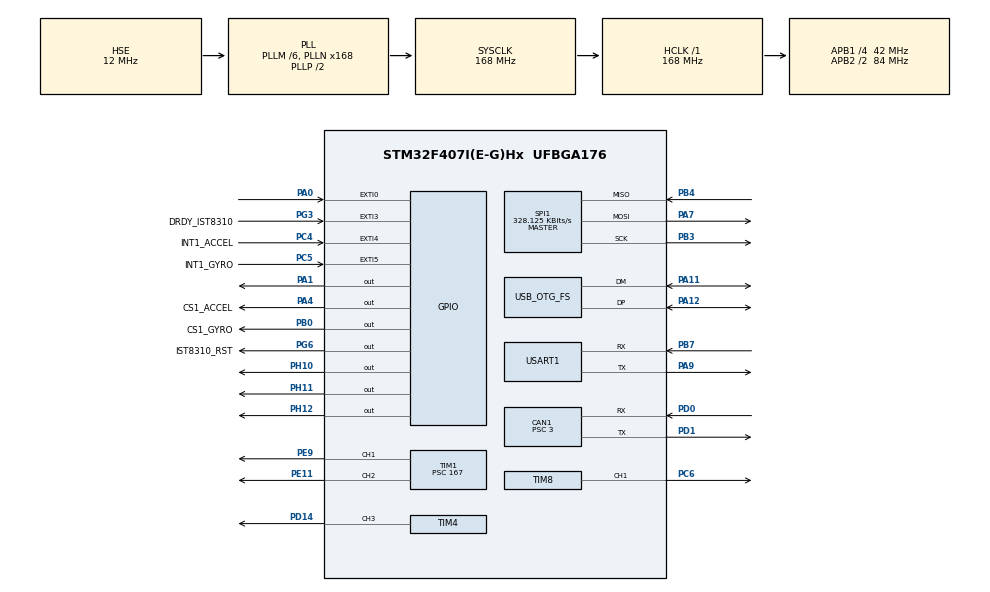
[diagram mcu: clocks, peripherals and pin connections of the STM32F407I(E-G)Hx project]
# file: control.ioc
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CAN1.ABOM=ENABLE
CAN1.AWUM=ENABLE
CAN1.BS1=CAN_BS1_5TQ
CAN1.BS2=CAN_BS2_8TQ
CAN1.CalculateBaudRate=1000000
CAN1.CalculateTimeBit=1000
CAN1.CalculateTimeQuantum=71.42857142857143
CAN1.Prescaler=3
Dma.Request0=SPI1_RX
Dma.Request1=SPI1_TX
Dma.SPI1_RX.0.Direction=DMA_PERIPH_TO_MEMORY
Dma.SPI1_RX.0.FIFOMode=DMA_FIFOMODE_DISABLE
Dma.SPI1_RX.0.Instance=DMA2_Stream2
Dma.SPI1_RX.0.MemDataAlignment=DMA_MDATAALIGN_BYTE
Dma.SPI1_RX.0.MemInc=DMA_MINC_ENABLE
Dma.SPI1_RX.0.Mode=DMA_NORMAL
Dma.SPI1_RX.0.PeriphDataAlignment=DMA_PDATAALIGN_BYTE
Dma.SPI1_RX.0.PeriphInc=DMA_PINC_DISABLE
Dma.SPI1_RX.0.Priority=DMA_PRIORITY_VERY_HIGH
Dma.SPI1_TX.1.Direction=DMA_MEMORY_TO_PERIPH
Dma.SPI1_TX.1.FIFOMode=DMA_FIFOMODE_DISABLE
Dma.SPI1_TX.1.Instance=DMA2_Stream3
Dma.SPI1_TX.1.MemDataAlignment=DMA_MDATAALIGN_BYTE
Dma.SPI1_TX.1.MemInc=DMA_MINC_ENABLE
Dma.SPI1_TX.1.Mode=DMA_NORMAL
Dma.SPI1_TX.1.PeriphDataAlignment=DMA_PDATAALIGN_BYTE
Dma.SPI1_TX.1.PeriphInc=DMA_PINC_DISABLE
Dma.SPI1_TX.1.Priority=DMA_PRIORITY_HIGH
FREERTOS.INCLUDE_eTaskGetState=1
FREERTOS.INCLUDE_pcTaskGetTaskName=1
FREERTOS.INCLUDE_uxTaskGetStackHighWaterMark=1
FREERTOS.INCLUDE_vTaskCleanUpResources=1
FREERTOS.INCLUDE_vTaskDelayUntil=1
FREERTOS.INCLUDE_xQueueGetMutexHolder=1
FREERTOS.INCLUDE_xSemaphoreGetMutexHolder=1
FREERTOS.INCLUDE_xTaskAbortDelay=1
FREERTOS.INCLUDE_xTaskGetCurrentTaskHandle=1
FREERTOS.INCLUDE_xTaskGetHandle=1
FREERTOS.INCLUDE_xTimerPendFunctionCall=1
FREERTOS.Tasks01=defaultTask,0,128,StartDefaultTask,Default,NULL,Dynamic,NULL,NULL
FREERTOS.configTOTAL_HEAP_SIZE=24576
FREERTOS.configUSE_TIMERS=1
Mcu.Family=STM32F4
Mcu.Name=STM32F407I(E-G)Hx
Mcu.Package=UFBGA176
NVIC.CAN1_RX0_IRQn=true\:5\:0\:true\:false\:true\:true\:true\:true\:true
NVIC.CAN1_TX_IRQn=true\:5\:0\:true\:false\:true\:true\:true\:true\:true
NVIC.DMA2_Stream2_IRQn=true\:5\:0\:false\:false\:false\:true\:false\:true\:true
NVIC.DMA2_Stream3_IRQn=true\:5\:0\:false\:false\:true\:true\:false\:true\:true
NVIC.EXTI0_IRQn=true\:5\:0\:true\:false\:true\:true\:true\:true\:true
NVIC.EXTI3_IRQn=true\:5\:0\:true\:false\:true\:true\:true\:true\:true
NVIC.EXTI4_IRQn=true\:5\:0\:true\:false\:true\:true\:true\:true\:true
NVIC.EXTI9_5_IRQn=true\:5\:0\:true\:false\:true\:true\:true\:true\:true
NVIC.OTG_FS_IRQn=true\:5\:0\:false\:false\:true\:true\:true\:true\:true
NVIC.PriorityGroup=NVIC_PRIORITYGROUP_4
NVIC.TIM4_IRQn=true\:5\:0\:false\:false\:true\:true\:true\:true\:true
NVIC.USART1_IRQn=true\:5\:0\:false\:false\:true\:true\:true\:true\:true
PA0-WKUP.GPIO_ModeDefaultEXTI=GPIO_MODE_IT_FALLING
PA0-WKUP.GPIO_PuPd=GPIO_PULLUP
PA0-WKUP.Signal=GPXTI0
PA1.Signal=GPIO_Output
PA11.Mode=Device_Only
PA11.Signal=USB_OTG_FS_DM
PA12.Mode=Device_Only
PA12.Signal=USB_OTG_FS_DP
PA13.Mode=Serial_Wire
PA13.Signal=SYS_JTMS-SWDIO
PA14.Mode=Serial_Wire
PA14.Signal=SYS_JTCK-SWCLK
PA4.GPIO_Label=CS1_ACCEL
PA4.GPIO_PuPd=GPIO_PULLUP
PA4.GPIO_Speed=GPIO_SPEED_FREQ_HIGH
PA4.PinState=GPIO_PIN_SET
PA4.Signal=GPIO_Output
PA7.GPIO_PuPd=GPIO_PULLUP
PA7.Mode=Full_Duplex_Master
PA7.Signal=SPI1_MOSI
PA8.GPIO_Pu=GPIO_PULLUP
PA8.Signal=I2C3_SCL
PA9.GPIO_PuPd=GPIO_NOPULL
PA9.GPIO_Speed=GPIO_SPEED_FREQ_VERY_HIGH
PA9.Mode=Asynchronous
PA9.Signal=USART1_TX
PB0.GPIO_Label=CS1_GYRO
PB0.GPIO_ModeDefaultOutputPP=GPIO_MODE_OUTPUT_PP
PB0.GPIO_PuPd=GPIO_PULLUP
PB0.GPIO_Speed=GPIO_SPEED_FREQ_HIGH
PB0.PinState=GPIO_PIN_SET
PB0.Signal=GPIO_Output
PB3.GPIO_PuPd=GPIO_PULLUP
PB3.Mode=Full_Duplex_Master
PB3.Signal=SPI1_SCK
PB4.GPIO_PuPd=GPIO_PULLUP
PB4.Mode=Full_Duplex_Master
PB4.Signal=SPI1_MISO
PB5.Signal=CAN2_RX
PB6.Signal=CAN2_TX
PB7.GPIO_PuPd=GPIO_NOPULL
PB7.GPIO_Speed=GPIO_SPEED_FREQ_VERY_HIGH
PB7.Mode=Asynchronous
PB7.Signal=USART1_RX
PC4.GPIO_Label=INT1_ACCEL
PC4.GPIO_PuPd=GPIO_PULLUP
PC4.Signal=GPXTI4
PC5.GPIO_Label=INT1_GYRO
PC5.GPIO_PuPd=GPIO_PULLUP
PC5.Signal=GPXTI5
PC6.Signal=S_TIM8_CH1
PD0.Mode=CAN_Activate
PD0.Signal=CAN1_RX
PD1.Mode=CAN_Activate
PD1.Signal=CAN1_TX
PD14.Signal=S_TIM4_CH3
PE11.Signal=S_TIM1_CH2
PE9.GPIO_PuPd=GPIO_PULLUP
PE9.GPIO_Speed=GPIO_SPEED_FREQ_HIGH
PE9.Signal=S_TIM1_CH1
PF6.GPIO_Label=IMU_PWM
PF6.GPIO_PuPd=GPIO_PULLUP
PF6.GPIO_Speed=GPIO_SPEED_FREQ_HIGH
PF6.Signal=S_TIM10_CH1
PG3.GPIO_Label=DRDY_IST8310
PG3.GPIO_PuPd=GPIO_PULLUP
PG3.Signal=GPXTI3
PG6.GPIO_Label=IST8310_RST
PG6.GPIO_PuPd=GPIO_PULLUP
PG6.GPIO_Speed=GPIO_SPEED_FREQ_MEDIUM
PG6.PinState=GPIO_PIN_SET
PG6.Signal=GPIO_Output
PH0-OSC_IN.Mode=HSE-External-Oscillator
PH0-OSC_IN.Signal=RCC_OSC_IN
PH1-OSC_OUT.Mode=HSE-External-Oscillator
PH1-OSC_OUT.Signal=RCC_OSC_OUT
PH10.GPIO_PuPd=GPIO_PULLUP
PH10.PinState=GPIO_PIN_SET
PH10.Signal=GPIO_Output
PH11.GPIO_PuPd=GPIO_PULLUP
PH11.PinState=GPIO_PIN_SET
PH11.Signal=GPIO_Output
PH12.GPIO_PuPd=GPIO_PULLUP
PH12.PinState=GPIO_PIN_SET
PH12.Signal=GPIO_Output
ProjectManager.HeapSize=0x2000
ProjectManager.StackSize=0x2000
ProjectManager.TargetToolchain=MDK-ARM V5.27
RCC.48MHZClocksFreq_Value=48000000
RCC.AHBFreq_Value=168000000
RCC.APB1CLKDivider=RCC_HCLK_DIV4
RCC.APB1Freq_Value=42000000
RCC.APB1TimFreq_Value=84000000
RCC.APB2CLKDivider=RCC_HCLK_DIV2
RCC.APB2Freq_Value=84000000
RCC.APB2TimFreq_Value=168000000
RCC.CortexFreq_Value=168000000
RCC.HCLKFreq_Value=168000000
RCC.HSE_VALUE=12000000
RCC.HSI_VALUE=16000000
RCC.LSE_VALUE=32768
RCC.PLLM=6
RCC.PLLN=168
RCC.PLLQ=7
RCC.SYSCLKFreq_VALUE=168000000
RCC.SYSCLKSource=RCC_SYSCLKSOURCE_PLLCLK
RCC.VCOOutputFreq_Value=336000000
SH.S_TIM10_CH1.0=TIM10_CH1
SH.S_TIM1_CH1.0=TIM1_CH1,PWM Generation1 CH1
SH.S_TIM1_CH2.0=TIM1_CH2,PWM Generation2 CH2
SH.S_TIM4_CH3.0=TIM4_CH3,PWM Generation3 CH3
SH.S_TIM8_CH1.0=TIM8_CH1,PWM Generation1 CH1
SPI1.BaudRatePrescaler=SPI_BAUDRATEPRESCALER_256
SPI1.CLKPhase=SPI_PHASE_2EDGE
SPI1.CLKPolarity=SPI_POLARITY_HIGH
SPI1.CalculateBaudRate=328.125 KBits/s
SPI1.Direction=SPI_DIRECTION_2LINES
SPI1.Mode=SPI_MODE_MASTER
SPI1.VirtualType=VM_MASTER
STMicroelectronics.X-CUBE-ALGOBUILD.1.3.0.LibraryCcDSPOoLibraryJjDSPOoLibrary=true
TIM1.Channel-PWM\ Generation1\ CH1=TIM_CHANNEL_1
TIM1.Channel-PWM\ Generation2\ CH2=TIM_CHANNEL_2
TIM1.Period=19999
TIM1.Prescaler=167
TIM1.Pulse-PWM\ Generation1\ CH1=2000
TIM10.Period=4999
TIM10.Prescaler=83
TIM4.Channel-PWM\ Generation3\ CH3=TIM_CHANNEL_3
TIM4.Period=20999
TIM4.Prescaler=0
TIM6.Period=1000-1
TIM6.Prescaler=840-1
TIM8.Channel-PWM\ Generation1\ CH1=TIM_CHANNEL_1
TIM8.Period=4999
TIM8.Prescaler=167
USART1.VirtualMode=VM_ASYNC
USB_DEVICE.CLASS_NAME_FS=CDC
USB_DEVICE.VirtualMode-CDC_FS=Cdc
USB_DEVICE.VirtualModeFS=Cdc_FS
USB_OTG_FS.VirtualMode=Device_Only
VP_FREERTOS_VS_CMSIS_V1.Mode=CMSIS_V1
VP_STMicroelectronics.X-CUBE-ALGOBUILD_VS_DSPOoLibraryJjLibrary_1.3.0_1.3.0.Mode=DSPOoLibraryJjLibrary
VP_TIM10_VS_ClockSourceINT.Mode=Enable_Timer
VP_TIM1_VS_ClockSourceINT.Mode=Internal
VP_TIM4_VS_ClockSourceINT.Mode=Internal
VP_TIM6_VS_ClockSourceINT.Mode=Enable_Timer
VP_TIM8_VS_ClockSourceINT.Mode=Internal
VP_USB_DEVICE_VS_USB_DEVICE_CDC_FS.Mode=CDC_FS
board=custom

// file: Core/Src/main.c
/* USER CODE BEGIN Header */
/**
  ******************************************************************************
  * @file           : main.c
  * @brief          : Main program body
  ******************************************************************************
  * @attention
  *
  * Copyright (c) 2024 STMicroelectronics.
  * All rights reserved.
  *
  * This software is licensed under terms that can be found in the LICENSE file
  * in the root directory of this software component.
  * If no LICENSE file comes with this software, it is provided AS-IS.
  *
  ******************************************************************************
  */
/* USER CODE END Header */
#include "main.h"
#include "cmsis_os.h"
#include "can.h"
#include "dma.h"
#include "spi.h"
#include "tim.h"
#include "usart.h"
#include "usb_device.h"
#include "gpio.h"

/* USER CODE BEGIN Includes */
#include "BMI088driver.h"
#include "bsp_dwt.h"
#include "bsp_can.h"
#include "Motor_bsp.h"
#include "xbox_rx_task.h"
#include "Clamp_task.h"
#include "buzzer.h"
/* USER CODE END Includes */

void SystemClock_Config(void);
void MX_FREERTOS_Init(void);

int main(void)
{

  /* MCU Configuration--------------------------------------------------------*/

  /* Reset of all peripherals, Initializes the Flash interface and the Systick. */
  HAL_Init();

  /* Configure the system clock */
  SystemClock_Config();

  /* Initialize all configured peripherals */
  MX_GPIO_Init();
  MX_DMA_Init();
  MX_CAN1_Init();
  MX_TIM6_Init();
  MX_SPI1_Init();
  MX_TIM10_Init();
  MX_TIM4_Init();
  MX_TIM8_Init();
  MX_TIM1_Init();
  MX_USART1_UART_Init();
  /* USER CODE BEGIN 2 */
  HAL_GPIO_WritePin(GPIOH,GPIO_PIN_10,GPIO_PIN_RESET);
  HAL_GPIO_WritePin(GPIOH,GPIO_PIN_11,GPIO_PIN_RESET);
  HAL_GPIO_WritePin(GPIOH,GPIO_PIN_12,GPIO_PIN_RESET);
  HAL_TIM_Base_Start(&htim1);
  HAL_TIM_PWM_Start(&htim1, TIM_CHANNEL_1);
  HAL_TIM_PWM_Start(&htim1, TIM_CHANNEL_2);
  Clamp_Init();
  bsp_can_init();
  DWT_Init(168);
  while (BMI088_init(&hspi1, 1) != BMI088_NO_ERROR)
  ;
  HAL_UART_Receive_IT(&huart1,rx_data,sizeof(rx_data));
  buzzer_init_example();
  buzzer_setTask(&buzzer, BUZZER_DJI_STARTUP_PRIORITY);

  /* USER CODE END 2 */
  /* USER CODE END 2 */
  /* USER CODE END 2 */

  /* Call init function for freertos objects (in freertos.c) */
  MX_FREERTOS_Init();

  /* Start scheduler */
  osKernelStart();

  /* We should never get here as control is now taken by the scheduler */
  /* Infinite loop */
  while (1)
  {

  }
}

void SystemClock_Config(void)
{
  RCC_OscInitTypeDef RCC_OscInitStruct = {0};
  RCC_ClkInitTypeDef RCC_ClkInitStruct = {0};

  /** Configure the main internal regulator output voltage
  */
  __HAL_RCC_PWR_CLK_ENABLE();
  __HAL_PWR_VOLTAGESCALING_CONFIG(PWR_REGULATOR_VOLTAGE_SCALE1);

  /** Initializes the RCC Oscillators according to the specified parameters
  * in the RCC_OscInitTypeDef structure.
  */
  RCC_OscInitStruct.OscillatorType = RCC_OSCILLATORTYPE_HSE;
  RCC_OscInitStruct.HSEState = RCC_HSE_ON;
  RCC_OscInitStruct.PLL.PLLState = RCC_PLL_ON;
  RCC_OscInitStruct.PLL.PLLSource = RCC_PLLSOURCE_HSE;
  RCC_OscInitStruct.PLL.PLLM = 6;
  RCC_OscInitStruct.PLL.PLLN = 168;
  RCC_OscInitStruct.PLL.PLLP = RCC_PLLP_DIV2;
  RCC_OscInitStruct.PLL.PLLQ = 7;
  if (HAL_RCC_OscConfig(&RCC_OscInitStruct) != HAL_OK)
  {
    Error_Handler();
  }

  /** Initializes the CPU, AHB and APB buses clocks
  */
  RCC_ClkInitStruct.ClockType = RCC_CLOCKTYPE_HCLK|RCC_CLOCKTYPE_SYSCLK
                              |RCC_CLOCKTYPE_PCLK1|RCC_CLOCKTYPE_PCLK2;
  RCC_ClkInitStruct.SYSCLKSource = RCC_SYSCLKSOURCE_PLLCLK;
  RCC_ClkInitStruct.AHBCLKDivider = RCC_SYSCLK_DIV1;
  RCC_ClkInitStruct.APB1CLKDivider = RCC_HCLK_DIV4;
  RCC_ClkInitStruct.APB2CLKDivider = RCC_HCLK_DIV2;

  if (HAL_RCC_ClockConfig(&RCC_ClkInitStruct, FLASH_LATENCY_5) != HAL_OK)
  {
    Error_Handler();
  }
}

void Error_Handler(void)
{
  __disable_irq();
  while (1)
  {
  }
}

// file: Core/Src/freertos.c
/* USER CODE BEGIN Header */
/**
  ******************************************************************************
  * File Name          : freertos.c
  * Description        : Code for freertos applications
  ******************************************************************************
  * @attention
  *
  * Copyright (c) 2024 STMicroelectronics.
  * All rights reserved.
  *
  * This software is licensed under terms that can be found in the LICENSE file
  * in the root directory of this software component.
  * If no LICENSE file comes with this software, it is provided AS-IS.
  *
  ******************************************************************************
  */
/* USER CODE END Header */

#include "FreeRTOS.h"
#include "task.h"
#include "main.h"
#include "cmsis_os.h"

/* USER CODE BEGIN Includes */
#include "ins_task.h"
#include "chassis_task.h"
#include "Clamp_task.h"
#include "In_na_task.h"
/* USER CODE END Includes */

/* USER CODE BEGIN PM */
osThreadId Chassis_TaskHandle;
osThreadId Clamp_TaskHandle;
osThreadId Get_Base_Velocities_TaskHandle;
osThreadId ins_TaskHandle;
osThreadId IN_TaskHandle;
/* USER CODE END PM */

osThreadId defaultTaskHandle;

void StartDefaultTask(void const * argument);

extern void MX_USB_DEVICE_Init(void);
void MX_FREERTOS_Init(void); /* (MISRA C 2004 rule 8.1) */

/* GetIdleTaskMemory prototype (linked to static allocation support) */
void vApplicationGetIdleTaskMemory( StaticTask_t **ppxIdleTaskTCBBuffer, StackType_t **ppxIdleTaskStackBuffer, uint32_t *pulIdleTaskStackSize );

/* GetTimerTaskMemory prototype (linked to static allocation support) */
void vApplicationGetTimerTaskMemory( StaticTask_t **ppxTimerTaskTCBBuffer, StackType_t **ppxTimerTaskStackBuffer, uint32_t *pulTimerTaskStackSize );

/* USER CODE BEGIN GET_IDLE_TASK_MEMORY */
static StaticTask_t xIdleTaskTCBBuffer;
static StackType_t xIdleStack[configMINIMAL_STACK_SIZE];

void vApplicationGetIdleTaskMemory( StaticTask_t **ppxIdleTaskTCBBuffer, StackType_t **ppxIdleTaskStackBuffer, uint32_t *pulIdleTaskStackSize )
{
  *ppxIdleTaskTCBBuffer = &xIdleTaskTCBBuffer;
  *ppxIdleTaskStackBuffer = &xIdleStack[0];
  *pulIdleTaskStackSize = configMINIMAL_STACK_SIZE;
  /* place for user code */
}
/* USER CODE END GET_IDLE_TASK_MEMORY */

/* USER CODE BEGIN GET_TIMER_TASK_MEMORY */
static StaticTask_t xTimerTaskTCBBuffer;
static StackType_t xTimerStack[configTIMER_TASK_STACK_DEPTH];

void vApplicationGetTimerTaskMemory( StaticTask_t **ppxTimerTaskTCBBuffer, StackType_t **ppxTimerTaskStackBuffer, uint32_t *pulTimerTaskStackSize )
{
  *ppxTimerTaskTCBBuffer = &xTimerTaskTCBBuffer;
  *ppxTimerTaskStackBuffer = &xTimerStack[0];
  *pulTimerTaskStackSize = configTIMER_TASK_STACK_DEPTH;
  /* place for user code */
}
/* USER CODE END GET_TIMER_TASK_MEMORY */

void MX_FREERTOS_Init(void) {

  /* USER CODE BEGIN RTOS_QUEUES */

  xTaskCreate(ins_Task,"ins_Task",256,NULL,osPriorityHigh,&ins_TaskHandle);
  xTaskCreate(Chassis_Task,"Chassis_TASK",128,NULL,osPriorityNormal,&Chassis_TaskHandle);
  xTaskCreate(Clamp_task,"Clamp_task",128,NULL,osPriorityNormal,&Clamp_TaskHandle);
  xTaskCreate(Get_Base_Velocities,"Get_Base_Velocities",128,NULL,osPriorityNormal,&Get_Base_Velocities_TaskHandle);
  xTaskCreate(IN_Task,"IN_Task",128,NULL,osPriorityNormal,&IN_TaskHandle);

  /* add queues, ... */
  /* USER CODE END RTOS_QUEUES */

  /* Create the thread(s) */
  /* definition and creation of defaultTask */
  osThreadDef(defaultTask, StartDefaultTask, osPriorityNormal, 0, 128);
  defaultTaskHandle = osThreadCreate(osThread(defaultTask), NULL);

}

void StartDefaultTask(void const * argument)
{
  /* init code for USB_DEVICE */
  MX_USB_DEVICE_Init();
  /* USER CODE BEGIN StartDefaultTask */
  INS_Init();
  /* Infinite loop */
  for(;;)
  {

    osDelay(1);
  }
  /* USER CODE END StartDefaultTask */
}
